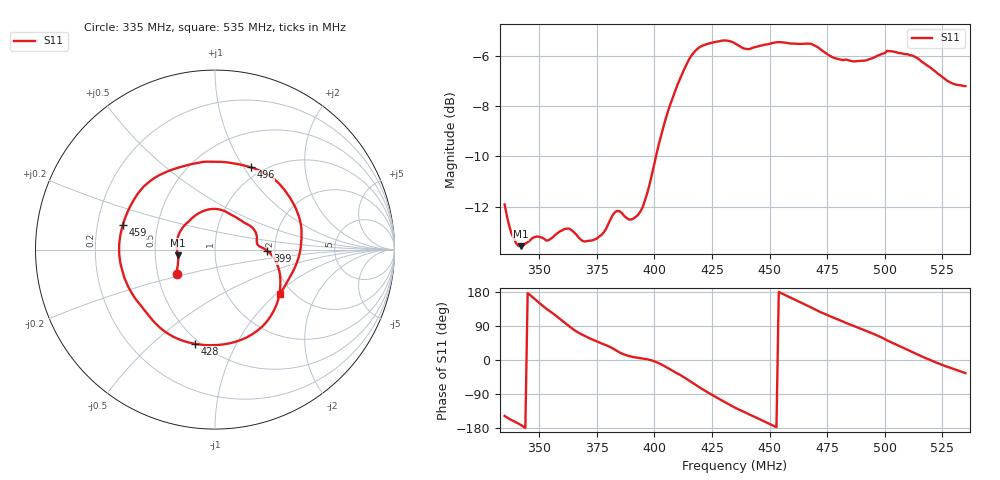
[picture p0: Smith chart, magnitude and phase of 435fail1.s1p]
#  HZ  S  RI  R  50.00
! Rohde & Schwarz ZVA40 2Ports - Version 3.12 - 1145.1110k40 SN: 100360
! Date: 2019-09-05 18:59:52
! Measurement: S11
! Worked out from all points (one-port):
!   201 points, 335 MHz to 535 MHz, reference 50 ohm
!   lowest |S11| = -13.6 dB at 342 MHz (marker M1), VSWR 1.53, Z = 32.8 - j2.16 ohm
!   |S11| at or under -10 dB: start of sweep to 400.7 MHz
!   S11 on the Smith chart (normalised r, x): 335 MHz: 0.63, -0.18; 399 MHz: 1.82, -0.03; 428 MHz: 0.47, -0.69; 459 MHz: 0.31, +0.12; 496 MHz: 0.88, +1.08; 535 MHz: 1.72, -1.05
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3.35e8  -0.214 -0.136
3.38e8  -0.2064 -0.0812
3.42e8  -0.207 -0.0315
3.49e8  -0.1999 0.0892
3.6e8  -0.0528 0.2189
3.66e8  0.0536 0.2145
3.73e8  0.1254 0.1746
3.85e8  0.2314 0.0826
3.93e8  0.2409 0.0231
3.99e8  0.2917 -0.00655
4.05e8  0.3581 -0.118
4.1e8  0.3561 -0.2569
4.14e8  0.3108 -0.3697
4.19e8  0.1787 -0.4883
4.23e8  0.0476 -0.528
4.28e8  -0.1137 -0.5244
4.35e8  -0.3106 -0.4312
4.48e8  -0.5052 -0.1558
4.53e8  -0.5337 -0.0244
4.59e8  -0.513 0.1381
4.6e8  -0.5053 0.1635
4.71e8  -0.3327 0.4023
4.85e8  -0.0293 0.4899
4.96e8  0.1987 0.4587
5.03e8  0.3553 0.3695
5.1e8  0.4517 0.2268
5.2e8  0.4748 -0.00707
5.35e8  0.3596 -0.2477
